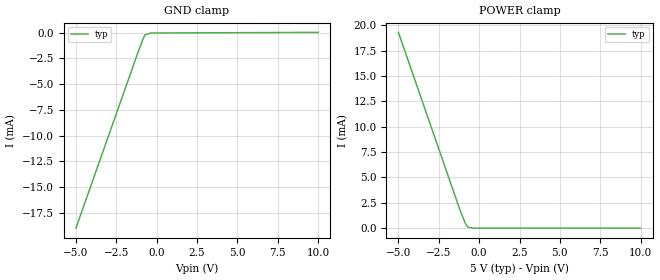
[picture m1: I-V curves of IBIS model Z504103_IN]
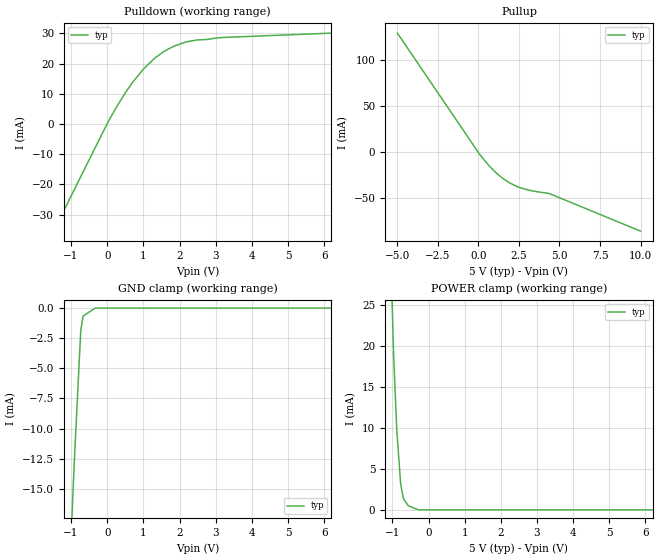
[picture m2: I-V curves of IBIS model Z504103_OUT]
| YOU ARE ONLY AUTHORIZED TO USE THIS SOFTWARE
| ACCORDING TO LICENSOR'S LICENSE RESTRICTIONS.
[IBIS Ver] 3.1
[File Name] mc54hc4075j.ibs
[File Rev] 2.0
[Source] Measured and created by ICX Technology
[Date] Friday 7/14/00 9:08:07 AM
[Copyright]
| (C) COPYRIGHT 1993-2000
| MENTOR GRAPHICS CORPORATION
| ICX STANDARD LIBRARY, ICX PROJECT MODELING,
| ICX CUSTOM MODELING, ICX VENDOR MODEL
| ALL RIGHTS RESERVED.
| THE FOLLOWING ARE TRADEMARKS OR SERVICE MARKS OF
| MENTOR GRAPHICS CORPORATION:ICX (R), ICX STANDARD
| LIBRARY(R), ICX PROJECT MODELING(R), ICX CUSTOM
| MODELING(R), qualityIBIS(TM), MODELVIEWER(TM),
| AND MODELEDITOR(TM)
| ALL COPIES OF SOFTWARE, INCLUDING BUT NOT LIMITED TO
| ANY MODIFICATIONS, ENHANCEMENTS OR DERIVATIVE WORKS,
| MUST CONTAIN ALL MENTOR GRAPHICS CORPORATION'S
| NOTICES AND LEGENDS, INCLUDING THOSE EMBEDDED IN
| SOFTWARE AND THOSE AFFIXED TO SOFTWARE MEDIUM
| AND CONTAINER, AS RECEIVED FROM MENTOR GRAPHICS
| CORPORATION.
|  ZAP Model Builder 2.7
[Component] MC54HC4075J
[Manufacturer] OnSemiconductor
[Package]
| variable   typ   min   max
R_pkg  .21ohms NA NA
L_pkg  4.543nH NA NA
C_pkg  1.8pF NA NA
[Pin] signal_name  model_name  R_pin  L_pin C_pin
1 A Z504103_IN .22 6.757n 2.434p
2 B Z504103_IN .212 4.757n 1.941p
3 A Z504103_IN .204 3.257n 1.448p
4 B Z504103_IN .196 2.257n .955p
5 C Z504103_IN .204 3.257n 1.448p
6 Y Z504103_OUT .212 4.757n 1.941p
7 GND GND .22 6.757n 2.434p
8 C Z504103_IN .22 6.757n 2.434p
9 Y Z504103_OUT .212 4.757n 1.941p
10 Y Z504103_OUT .204 3.257n 1.448p
11 A Z504103_IN .196 2.257n .955p
12 B Z504103_IN .204 3.257n 1.448p
13 C Z504103_IN .212 4.757n 1.941p
14 VCC POWER .22 6.757n 2.434p
| Models and submodels in the file (2): Z504103_IN (Input), Z504103_OUT (Output)
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| (C) COPYRIGHT 1993-2000
| MENTOR GRAPHICS CORPORATION
| ICX STANDARD LIBRARY, ICX PROJECT MODELING,
| ICX CUSTOM MODELING, ICX VENDOR MODEL
| ALL RIGHTS RESERVED.
| THE FOLLOWING ARE TRADEMARKS OR SERVICE MARKS OF
| MENTOR GRAPHICS CORPORATION:ICX (R), ICX STANDARD
| LIBRARY(R), ICX PROJECT MODELING(R), ICX CUSTOM
| MODELING(R), qualityIBIS(TM), MODELVIEWER(TM),
| AND MODELEDITOR(TM)
| ALL COPIES OF SOFTWARE, INCLUDING BUT NOT LIMITED TO
| ANY MODIFICATIONS, ENHANCEMENTS OR DERIVATIVE WORKS,
| MUST CONTAIN ALL MENTOR GRAPHICS CORPORATION'S
| NOTICES AND LEGENDS, INCLUDING THOSE EMBEDDED IN
| SOFTWARE AND THOSE AFFIXED TO SOFTWARE MEDIUM
| AND CONTAINER, AS RECEIVED FROM MENTOR GRAPHICS
| CORPORATION.
| Model Application Version 1.89 2/18/99.
[Model] Z504103_IN
Model_type Input
Vinl = 1.000V
Vinh = 3.500V
C_comp 4.000pF NA NA
| variable typ   min   max
[Voltage Range] 5.000V NA NA
[GND Clamp Reference] 0.000V NA NA
[POWER Clamp Reference] 5.000V NA NA
[GND Clamp]
-5V       -18.99mA   NA         NA
-1.133V   -1.802mA   NA         NA
-841.7mV  -608.4uA   NA         NA
-729.4mV  -215uA     NA         NA
-364.7mV  -26.96uA   NA         NA
10V       35.47uA    NA         NA
[POWER Clamp]
-5V       19.32mA    NA         NA
-1.194V   1.814mA    NA         NA
-866mV    513.7uA    NA         NA
-710mV    113.5uA    NA         NA
-355mV    0A         NA         NA
10V       0A         NA         NA
| (C) COPYRIGHT 1993-2000
| MENTOR GRAPHICS CORPORATION
| ICX STANDARD LIBRARY, ICX PROJECT MODELING,
| ICX CUSTOM MODELING, ICX VENDOR MODEL
| ALL RIGHTS RESERVED.
| THE FOLLOWING ARE TRADEMARKS OR SERVICE MARKS OF
| MENTOR GRAPHICS CORPORATION:ICX (R), ICX STANDARD
| LIBRARY(R), ICX PROJECT MODELING(R), ICX CUSTOM
| MODELING(R), qualityIBIS(TM), MODELVIEWER(TM),
| AND MODELEDITOR(TM)
| ALL COPIES OF SOFTWARE, INCLUDING BUT NOT LIMITED TO
| ANY MODIFICATIONS, ENHANCEMENTS OR DERIVATIVE WORKS,
| MUST CONTAIN ALL MENTOR GRAPHICS CORPORATION'S
| NOTICES AND LEGENDS, INCLUDING THOSE EMBEDDED IN
| SOFTWARE AND THOSE AFFIXED TO SOFTWARE MEDIUM
| AND CONTAINER, AS RECEIVED FROM MENTOR GRAPHICS
| CORPORATION.
| Model Application Version 1.89 2/18/99.
[Model] Z504103_OUT
Model_type Output
Vref=0.000V
Rref=500.0Mohms
Cref=50.00pF
Vmeas=2.500V
C_comp 8.000pF NA NA
| variable typ   min   max
[Voltage Range] 5.000V NA NA
[POWER Clamp Reference] 5.000V NA NA
[Pullup Reference] 5.000V NA NA
[Pulldown Reference] 0.000V NA NA
[GND Clamp Reference] 0.000V NA NA
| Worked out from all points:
|   slope of the pulldown table from 0 to 0.75 V, typ, clamps not added: 52 ohm
|   slope of the pullup table from 0 to 0.75 V, typ, clamps not added: 46.9 ohm
|   GND clamp passes 1 mA (typ) near -0.69 V on its own axis
|   POWER clamp passes 1 mA (typ) near -0.64 V on its own axis
[GND Clamp]
-5V       -458.7mA   NA         NA
-1.308V   -44.44mA   NA         NA
-1.147V   -29.94mA   NA         NA
-912.9mV  -12.88mA   NA         NA
-731.5mV  -1.875mA   NA         NA
-669mV    -674.3uA   NA         NA
-334.5mV  0A         NA         NA
10V       0A         NA         NA
[Pulldown]
-5V       -119.9mA   NA         NA
27.77mV   774.4uA    NA         NA
513.3mV   10.57mA    NA         NA
708.8mV   13.93mA    NA         NA
1.025V    18.51mA    NA         NA
1.318V    21.84mA    NA         NA
1.537V    23.78mA    NA         NA
1.895V    26.05mA    NA         NA
2.171V    27.18mA    NA         NA
2.471V    27.84mA    NA         NA
3.188V    28.68mA    NA         NA
10V       31.94mA    NA         NA
[Pullup]
-5V       128.8mA    NA         NA
39mV      -1.748mA   NA         NA
664mV     -15.18mA   NA         NA
1.27V     -25.49mA   NA         NA
1.9V      -33.39mA   NA         NA
2.417V    -37.86mA   NA         NA
3.291V    -42.29mA   NA         NA
4.382V    -45.31mA   NA         NA
10V       -86.02mA   NA         NA
[POWER Clamp]
-5V       883.9mA    NA         NA
-1.151V   48.23mA    NA         NA
-967mV    18.92mA    NA         NA
-879mV    9.726mA    NA         NA
-771mV    3.125mA    NA         NA
-693mV    1.347mA    NA         NA
-561mV    497.7uA    NA         NA
-280.5mV  0A         NA         NA
10V       0A         NA         NA
[Ramp]
| variable typ min max
dV/dt_r 2.778/1.343n NA NA
dV/dt_f 2.778/1.266n NA NA
R_load = 500.0Ohms
